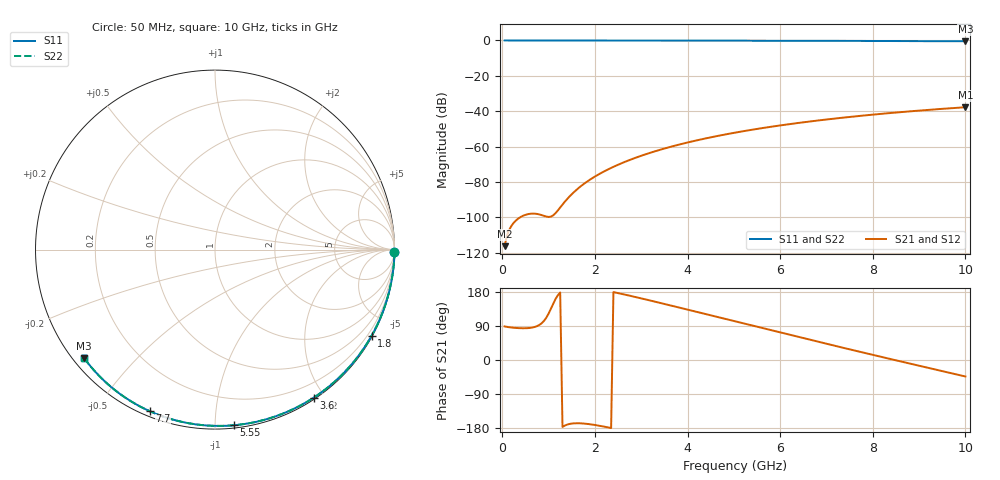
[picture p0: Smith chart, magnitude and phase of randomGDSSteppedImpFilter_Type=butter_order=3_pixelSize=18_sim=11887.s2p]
! freq	dB(S11)	phase(S11)	dB(S12)	phase(S12)
!  dB(S21)	phase(S21)	dB(S22)	phase(S22)
!S-par simulation data
#  GHz  S  DB  R 50
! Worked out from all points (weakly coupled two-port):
!   200 points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, 50 MHz to 10 GHz, reference 50 ohm
!   highest |S21| = -37.74 dB at 10 GHz (marker M1); lowest = -116.2 dB at 50 MHz (marker M2)
!   lowest |S11| = -0.5 dB at 10 GHz (marker M3), VSWR 36.72, Z = 1.54 - j18 ohm
!   |S11| at or under -10 dB: nowhere
!   |S22| runs from -0.5 to 0.0 dB; largest |S21 - S12| = 0
!   S11 on the Smith chart (normalised r, x): 50 MHz: open; 1.8 GHz: 0.03, -3.89; 3.6 GHz: 0.02, -1.87; 5.55 GHz: 0.02, -1.11; 7.7 GHz: 0.02, -0.68; 10 GHz: 0.03, -0.36
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0.05  -0.00 -0.8  -116.24 88.6  -116.24 88.6  -0.00 -0.8
0.45  -0.01 -7.3  -99.04 83.8  -99.04 83.8  -0.01 -7.3
0.9  -0.02 -14.5  -99.11 103.2  -99.11 103.2  -0.02 -14.5
1.75  -0.04 -28.0  -81.28 -167.6  -81.28 -167.6  -0.04 -28.0
1.8  -0.04 -28.8  -80.32 -168.2  -80.32 -168.2  -0.04 -28.8
1.85  -0.04 -29.6  -79.41 -168.9  -79.41 -168.9  -0.04 -29.6
2  -0.04 -31.9  -76.91 -171.5  -76.91 -171.5  -0.04 -31.9
2.15  -0.04 -34.3  -74.67 -174.7  -74.67 -174.7  -0.04 -34.3
2.35  -0.05 -37.4  -72.01 -179.5  -72.01 -179.5  -0.05 -37.4
2.55  -0.05 -40.4  -69.66 175.2  -69.66 175.2  -0.05 -40.4
2.95  -0.06 -46.5  -65.61 164.1  -65.61 164.1  -0.06 -46.5
3.4  -0.07 -53.3  -61.82 150.9  -61.82 150.9  -0.07 -53.3
3.6  -0.08 -56.2  -60.34 145.0  -60.34 145.0  -0.08 -56.2
4.3  -0.09 -66.4  -55.86 123.9  -55.86 123.9  -0.09 -66.4
5.05  -0.12 -77.0  -51.98 101.2  -51.98 101.2  -0.12 -77.0
5.55  -0.14 -83.9  -49.78 86.1  -49.78 86.1  -0.14 -83.9
6.1  -0.16 -91.3  -47.65 69.5  -47.65 69.5  -0.16 -91.3
6.7  -0.19 -99.1  -45.59 51.7  -45.59 51.7  -0.19 -99.1
7.7  -0.26 -111.9  -42.69 22.3  -42.69 22.3  -0.26 -111.9
8.35  -0.31 -120.1  -41.07 3.5  -41.07 3.5  -0.31 -120.1
9.2  -0.39 -130.5  -39.23 -20.8  -39.23 -20.8  -0.39 -130.5
10  -0.47 -140.4  -37.74 -43.5  -37.74 -43.5  -0.47 -140.4
